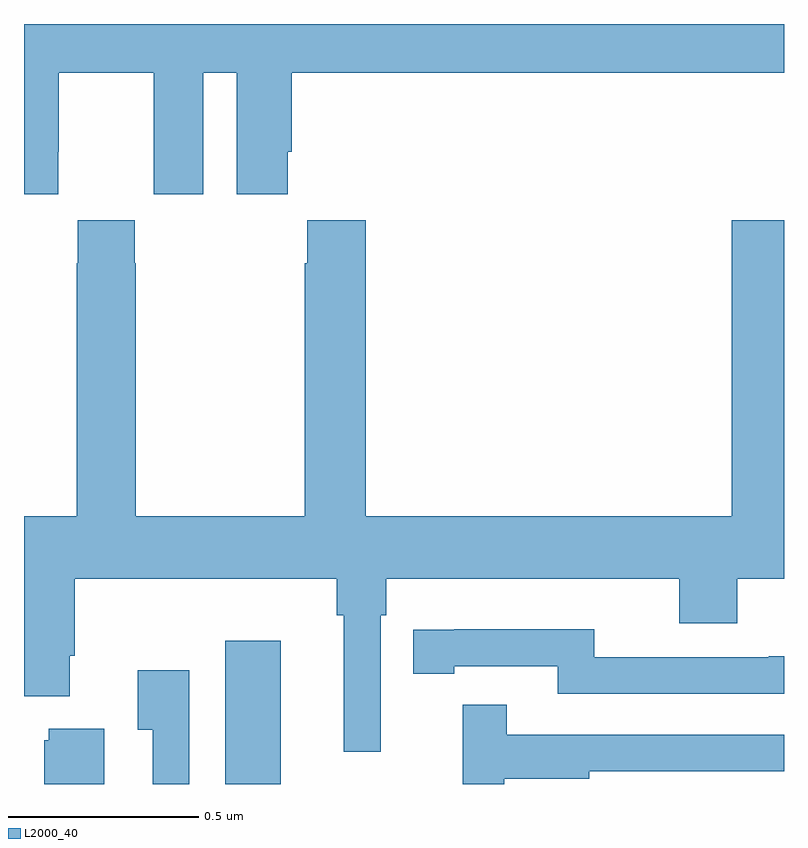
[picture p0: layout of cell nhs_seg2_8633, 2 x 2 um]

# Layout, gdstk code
import gdstk
lib = gdstk.Library(unit=1e-6, precision=1e-09)
def R(c, l, rs):  # rectangles x0, y0, x1, y1
    for r in rs: c.add(gdstk.rectangle(r[:2], r[2:], *l))
def P(c, l, *ps):  # polygons
    for p in ps: c.add(gdstk.Polygon(p, *l))
L2000_40 = (2000, 40)

nhs_seg2_8633 = lib.new_cell('nhs_seg2_8633')
R(nhs_seg2_8633, L2000_40, [(219.53,609.8,219.676,610.177)])
P(nhs_seg2_8633, L2000_40, [(219.09,611.464),(219.091,611.464),(219.091,611.672),(219.341,611.672),(219.341,611.464),(219.342,611.464),(219.342,611.352),(219.472,611.352),(219.472,611.672),(219.56,611.672),(219.56,611.352),(219.694,611.352),(219.694,611.464),(219.704,611.464),(219.704,611.672),(221,611.672),(221,611.8),(219,611.8),(219,611.352),(219.09,611.352)],
  [(219.939,610.244),(219.953,610.244),(219.953,610.34),(220.724,610.34),(220.724,610.223),(220.877,610.223),(220.877,610.34),(221,610.34),(221,611.284),(220.862,611.284),(220.862,610.504),(219.899,610.504),(219.899,611.284),(219.745,611.284),(219.745,611.171),(219.739,611.171),(219.739,610.504),(219.294,610.504),(219.294,611.171),(219.291,611.171),(219.291,611.284),(219.141,611.284),(219.141,611.171),(219.139,611.171),(219.139,610.504),(219,610.504),(219,610.031),(219.121,610.031),(219.121,610.138),(219.134,610.138),(219.134,610.34),(219.823,610.34),(219.823,610.244),(219.842,610.244),(219.842,609.885),(219.939,609.885)],
  [(221,610.136),(220.96,610.136),(220.96,610.134),(220.5,610.134),(220.5,610.207),(220.132,610.207),(220.132,610.206),(220.024,610.206),(220.024,610.09),(220.132,610.09),(220.132,610.11),(220.404,610.11),(220.404,610.038),(221,610.038)],
  [(219.435,610.099),(219.299,610.099),(219.299,609.943),(219.339,609.943),(219.339,609.8),(219.435,609.8)],
  [(220.264,609.814),(220.487,609.814),(220.487,609.834),(221,609.834),(221,609.93),(220.271,609.93),(220.271,610.009),(220.154,610.009),(220.154,609.8),(220.264,609.8)],
  [(219.211,609.946),(219.065,609.946),(219.065,609.915),(219.053,609.915),(219.053,609.8),(219.211,609.8)])

lib.write_gds('nhs_seg2_8633.gds')
